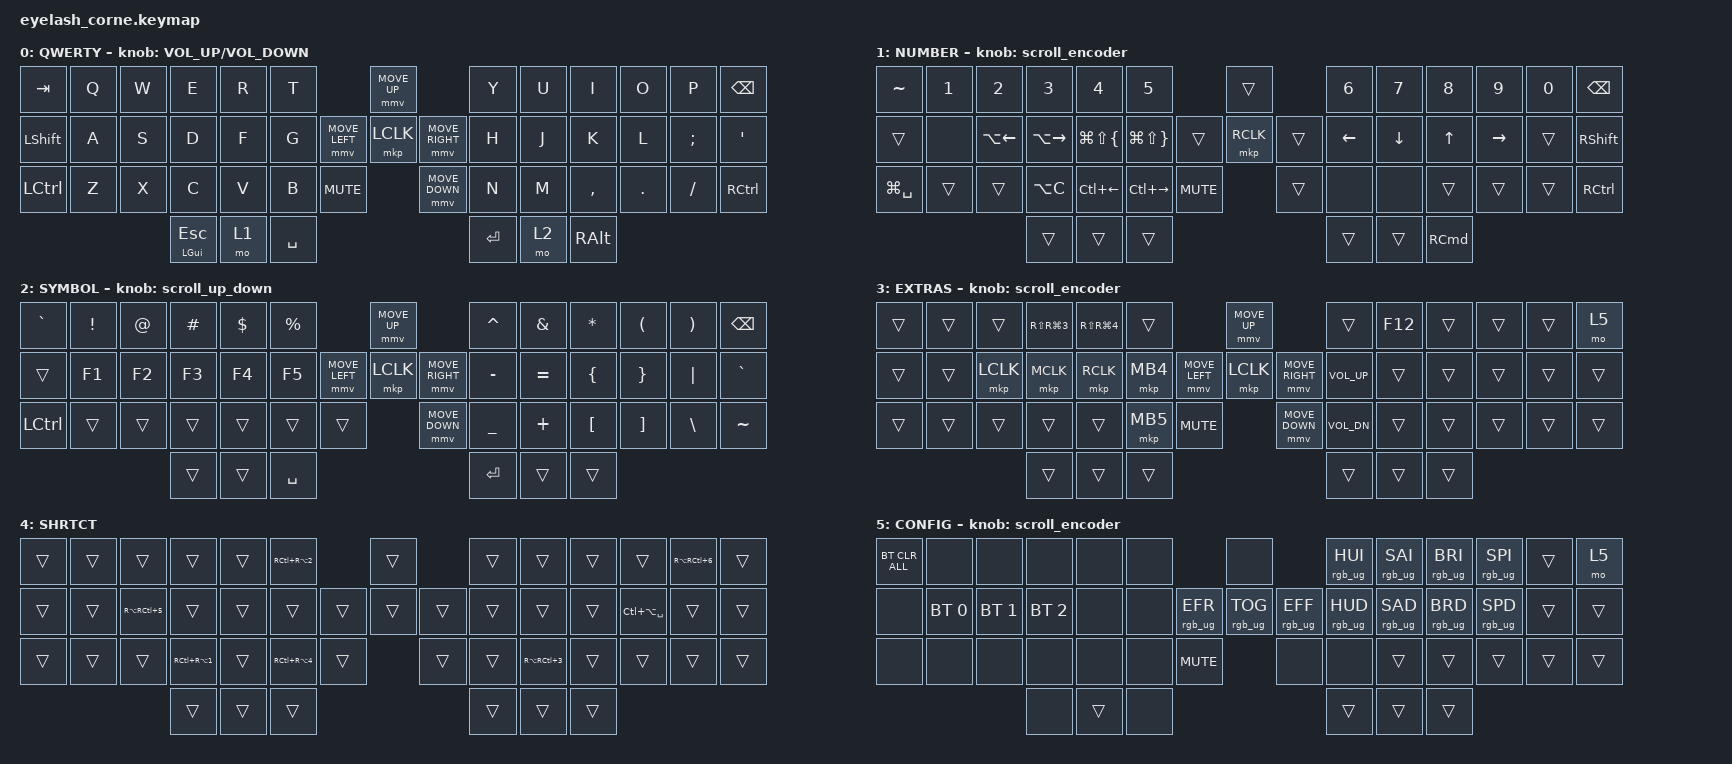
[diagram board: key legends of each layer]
#define ZMK_POINTING_DEFAULT_MOVE_VAL 1200  // 600
#define ZMK_POINTING_DEFAULT_SCRL_VAL 25   // 10

#include <input/processors.dtsi>
#include <zephyr/dt-bindings/input/input-event-codes.h>
#include <behaviors.dtsi>
#include <dt-bindings/zmk/bt.h>
#include <dt-bindings/zmk/keys.h>
#include <dt-bindings/zmk/pointing.h>
#include <dt-bindings/zmk/rgb.h>

&mmv_input_listener { input-processors = <&zip_xy_scaler 2 1>; };

&msc_input_listener { input-processors = <&zip_scroll_scaler 2 1>; };

&msc {
    acceleration-exponent = <1>;      // 0
    time-to-max-speed-ms = <100>;       // 300
    delay-ms = <0>;                   // 0
};

&mmv {
    time-to-max-speed-ms = <500>;
    acceleration-exponent = <1>;
    trigger-period-ms = <16>;
};

/ {
    behaviors {
        td0: td0 {
            compatible = "zmk,behavior-tap-dance";
            display-name = "Shift/Caps Lock Tap Dance";
            #binding-cells = <0>;
            bindings = <&kp LEFT_SHIFT>, <&kp CAPS>;
        };

        scroll_up_down: scroll_up_down {
            compatible = "zmk,behavior-sensor-rotate";
            label = "SCROLL_UP_DOWN";
            #sensor-binding-cells = <0>;
            bindings = <&msc SCRL_UP>, <&msc SCRL_DOWN>;

            tap-ms = <20>;
        };
    };

    rgb_encoder: rgb_encoder {
        compatible = "zmk,behavior-sensor-rotate";
        #sensor-binding-cells = <0>;
        bindings = <&rgb_ug RGB_BRI>, <&rgb_ug RGB_BRD>;
    };

    scroll_encoder: scroll_encoder {
        compatible = "zmk,behavior-sensor-rotate";
        #sensor-binding-cells = <0>;
        bindings = <&msc SCRL_DOWN>, <&msc SCRL_UP>;

        tap-ms = <100>;
    };

    combos {
        compatible = "zmk,combos";

        sc_layer {
            bindings = <&sl 4>;
            key-positions = <17 16>;
        };
    };

    keymap {
        compatible = "zmk,keymap";

        default_layer {
            display-name = "QWERTY";
            bindings = <
&kp TAB    &kp Q  &kp W  &kp E         &kp R  &kp T                                    &mmv MOVE_UP                     &kp Y      &kp U  &kp I      &kp O    &kp P     &kp BSPC
&kp LSHFT  &kp A  &kp S  &kp D         &kp F  &kp G                    &mmv MOVE_LEFT  &mkp LCLK       &mmv MOVE_RIGHT  &kp H      &kp J  &kp K      &kp L    &kp SEMI  &kp SQT
&kp LCTRL  &kp Z  &kp X  &kp C         &kp V  &kp B      &kp C_MUTE                    &mmv MOVE_DOWN                   &kp N      &kp M  &kp COMMA  &kp DOT  &kp FSLH  &kp RCTRL
                         &mt LGUI ESC  &mo 1  &kp SPACE                                                                 &kp ENTER  &mo 2  &kp RALT
            >;

            sensor-bindings = <&inc_dec_kp C_VOLUME_UP C_VOLUME_DOWN>;
        };

        lower_layer {
            display-name = "NUMBER";
            bindings = <
&kp TILDE      &kp N1  &kp N2              &kp N3               &kp N4                  &kp N5                                         &trans             &kp N6    &kp N7    &kp N8             &kp N9     &kp N0  &kp BSPC
&trans         &none   &kp LA(LEFT_ARROW)  &kp LA(RIGHT_ARROW)  &kp LG(LS(LEFT_BRACE))  &kp LG(LS(RIGHT_BRACE))                &trans  &mkp RCLK  &trans  &kp LEFT  &kp DOWN  &kp UP             &kp RIGHT  &trans  &kp RIGHT_SHIFT
&kp LG(SPACE)  &trans  &trans              &kp LA(C)            &kp LC(LEFT_ARROW)      &kp LC(RIGHT_ARROW)      &kp C_MUTE            &trans             &none     &none     &trans             &trans     &trans  &kp RCTRL
                                           &trans               &trans                  &trans                                                            &trans    &trans    &kp RIGHT_COMMAND
            >;

            sensor-bindings = <&scroll_encoder>;
        };

        raise_layer {
            display-name = "SYMBOL";
            bindings = <
&kp GRAVE  &kp EXCL  &kp AT  &kp HASH  &kp DLLR  &kp PRCNT                            &mmv MOVE_UP                     &kp CARET  &kp AMPS   &kp ASTRK         &kp LPAR           &kp RPAR       &kp BSPC
&trans     &kp F1    &kp F2  &kp F3    &kp F4    &kp F5               &mmv MOVE_LEFT  &mkp LCLK       &mmv MOVE_RIGHT  &kp MINUS  &kp EQUAL  &kp LEFT_BRACE    &kp RIGHT_BRACE    &kp PIPE       &kp GRAVE
&kp LCTRL  &trans    &trans  &trans    &trans    &trans     &trans                    &mmv MOVE_DOWN                   &kp UNDER  &kp PLUS   &kp LEFT_BRACKET  &kp RIGHT_BRACKET  &kp BACKSLASH  &kp TILDE
                             &trans    &trans    &kp SPACE                                                             &kp RET    &trans     &trans
            >;

            sensor-bindings = <&scroll_up_down>;
        };

        ext_layer {
            display-name = "EXTRAS";
            bindings = <
&trans  &trans  &trans     &kp RS(RG(NUMBER_3))  &kp RS(RG(NUMBER_4))  &trans                                  &mmv MOVE_UP                     &trans           &kp F12  &trans  &trans  &trans  &mo 5
&trans  &trans  &mkp LCLK  &mkp MCLK             &mkp RCLK             &mkp MB4                &mmv MOVE_LEFT  &mkp LCLK       &mmv MOVE_RIGHT  &kp C_VOLUME_UP  &trans   &trans  &trans  &trans  &trans
&trans  &trans  &trans     &trans                &trans                &mkp MB5  &kp C_MUTE                    &mmv MOVE_DOWN                   &kp C_VOL_DN     &trans   &trans  &trans  &trans  &trans
                           &trans                &trans                &trans                                                                   &trans           &trans   &trans
            >;

            sensor-bindings = <&scroll_encoder>;
        };

        sc_layer {
            bindings = <
&trans  &trans  &trans          &trans                &trans  &kp RC(RA(NUMBER_2))                    &trans          &trans  &trans                &trans  &trans             &kp RA(RC(NUMBER_6))  &trans
&trans  &trans  &kp RA(RC(N5))  &trans                &trans  &trans                          &trans  &trans  &trans  &trans  &trans                &trans  &kp LC(LA(SPACE))  &trans                &trans
&trans  &trans  &trans          &kp RC(RA(NUMBER_1))  &trans  &kp RC(RA(NUMBER_4))  &trans            &trans          &trans  &kp RA(RC(NUMBER_3))  &trans  &trans             &trans                &trans
                                &trans                &trans  &trans                                                  &trans  &trans                &trans
            >;

            label = "SHRTCT";
        };

        cfg_layer {
            display-name = "CONFIG";
            bindings = <
&bt BT_CLR_ALL  &none         &none         &none         &none   &none                                 &none                             &rgb_ug RGB_HUI  &rgb_ug RGB_SAI  &rgb_ug RGB_BRI  &rgb_ug RGB_SPI  &trans  &mo 5
&none           &bt BT_SEL 0  &bt BT_SEL 1  &bt BT_SEL 2  &none   &none                &rgb_ug RGB_EFR  &rgb_ug RGB_TOG  &rgb_ug RGB_EFF  &rgb_ug RGB_HUD  &rgb_ug RGB_SAD  &rgb_ug RGB_BRD  &rgb_ug RGB_SPD  &trans  &trans
&none           &none         &none         &none         &none   &none  &kp C_MUTE                     &none                             &none            &trans           &trans           &trans           &trans  &trans
                                            &none         &trans  &none                                                                   &trans           &trans           &trans
            >;

            sensor-bindings = <&scroll_encoder>;
        };
    };

    conditional_layers {
        compatible = "zmk,conditional-layers";

        ext_layer {
            if-layers = <1 2>;
            then-layer = <3>;
        };
    };
};
